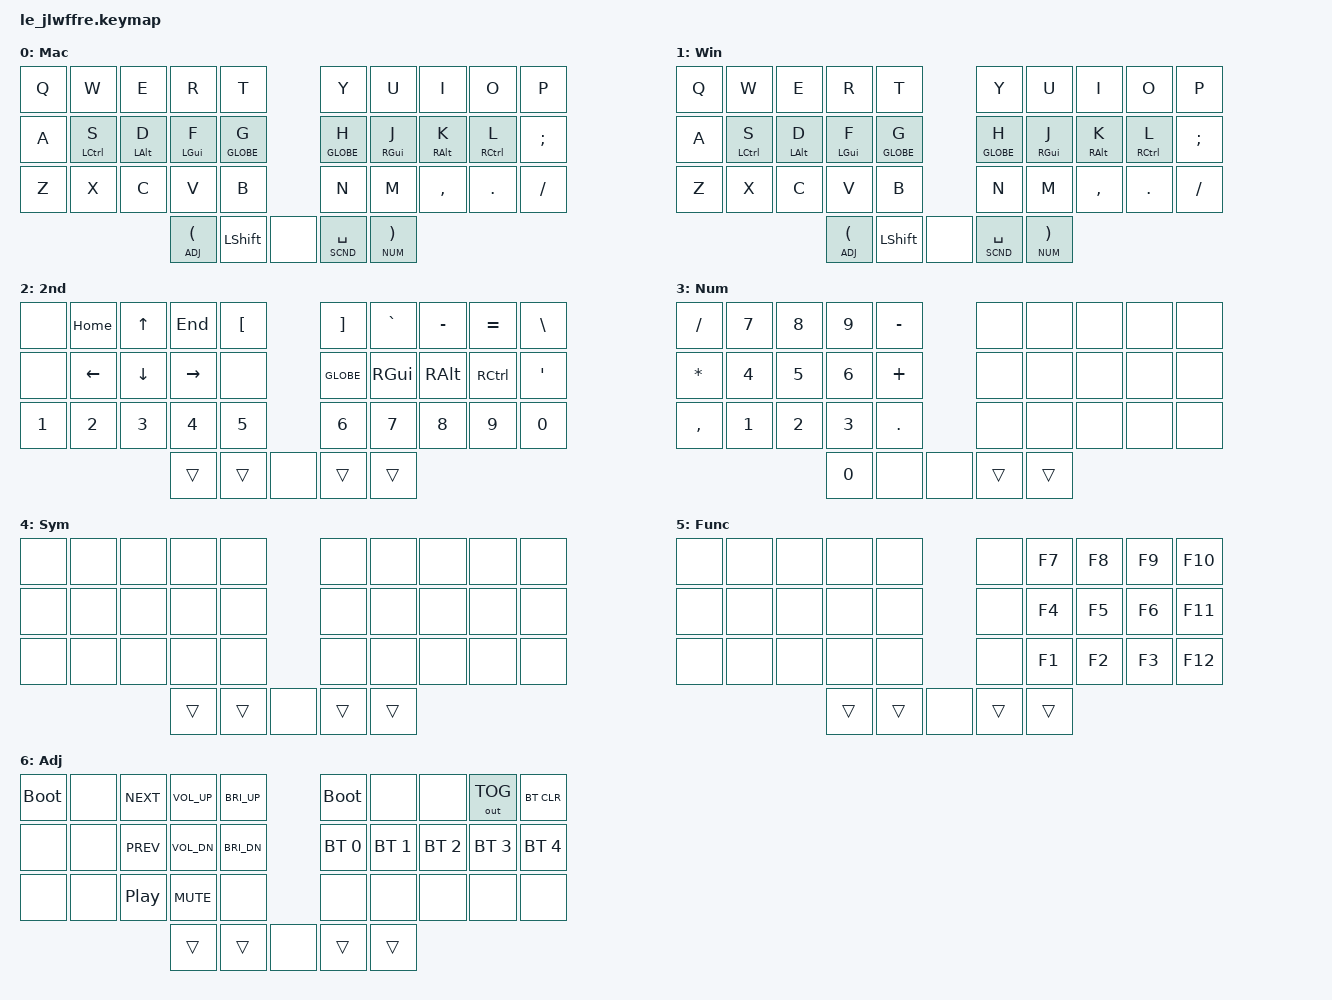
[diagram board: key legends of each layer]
/*
 * Copyright (c) 2021 Pete Johanson
 *
 * SPDX-License-Identifier: MIT
 */

#include <behaviors.dtsi>
#include <dt-bindings/zmk/keys.h>
#include <dt-bindings/zmk/bt.h>
#include <dt-bindings/zmk/outputs.h>

#define MAC  0
#define WIN  1
#define SCND 2
#define NUM  3
#define SYM  4
#define FUN  5
#define ADJ  6

/ {
        behaviors {
                hm: homerow_mods {
                        compatible = "zmk,behavior-hold-tap";
                        label = "HOMEROW_MODS";
                        #binding-cells = <2>;
                        tapping-term-ms = <200>;
                        quick-tap-ms = <200>;
                        require-prior-idle-ms = <150>;
                        flavor = "tap-preferred";
                        bindings = <&kp>, <&kp>;
                };

                bspc_del: backspace_delete {
                        compatible = "zmk,behavior-mod-morph";
                        label = "BACKSPACE_DELETE";
                        #binding-cells = <0>;
                        bindings = <&kp BACKSPACE>, <&kp DELETE>;
                        mods = <(MOD_LSFT|MOD_RSFT)>;
                        keep-mods = <(MOD_RSFT)>;
                };

                td_num_layer: tap_dance_num_layer {
                        compatible = "zmk,behavior-tap-dance";
                        #binding-cells = <0>;
                        tapping-term-ms = <200>;
                        bindings = <&mo NUM>, <&tog NUM>;
                };
        };

        combos {
        compatible = "zmk,combos";

        combo_escape {
            timeout-ms = <50>;
            key-positions = <11 12>;
            bindings = <&kp ESC>;
        };

        combo_tab {
            timeout-ms = <50>;
            key-positions = <12 13>;
            bindings = <&kp TAB>;
        };

        combo_backspace {
            timeout-ms = <50>;
            key-positions = <16 17>;
            bindings = <&bspc_del>;
        };

        combo_enter {
            timeout-ms = <50>;
            key-positions = <17 18>;
            bindings = <&kp ENTER>;
        };

        // Shortcut and Macro combos
        combo_undo_mac{
            timeout-ms = <50>;
            key-positions = <20 21>;
            bindings = <&kp LG(Z)>;
            layers = <MAC>;
        };

        combo_undo_win{
            timeout-ms = <50>;
            key-positions = <20 21>;
            bindings = <&kp LC(Z)>;
            layers = <WIN>;
        };

        combo_cut_mac{
            timeout-ms = <50>;
            key-positions = <21 22>;
            bindings = <&kp LG(X)>;
            layers = <MAC>;
        };

        combo_cut_win{
            timeout-ms = <50>;
            key-positions = <21 22>;
            bindings = <&kp LC(X)>;
            layers = <WIN>;
        };

        combo_copy_mac{
            timeout-ms = <50>;
            key-positions = <22 23>;
            bindings = <&kp LG(C)>;
            layers = <MAC>;
        };

        combo_copy_win{
            timeout-ms = <50>;
            key-positions = <22 23>;
            bindings = <&kp LC(C)>;
            layers = <WIN>;
        };

        combo_paste_mac{
            timeout-ms = <50>;
            key-positions = <23 24>;
            bindings = <&kp LG(V)>;
            layers = <MAC>;
        };

        combo_paste_win{
            timeout-ms = <50>;
            key-positions = <23 24>;
            bindings = <&kp LC(V)>;
            layers = <WIN>;
        };

        combo_delete_word_mac{
            timeout-ms = <50>;
            key-positions = <15 16>;
            bindings = <&kp LA(BACKSPACE)>;
            layers = <MAC>;
        };

        combo_delete_word_win{
            timeout-ms = <50>;
            key-positions = <15 16>;
            bindings = <&kp LC(BACKSPACE)>;
            layers = <WIN>;
        };

        combo_left_desktop_mac {
            timeout-ms = <50>;
            key-positions = <26 27>;
            bindings = <&kp LC(LEFT_ARROW)>;
            layers = <MAC>;
        };

        combo_right_desktop_mac {
            timeout-ms = <50>;
            key-positions = <27 28>;
            bindings = <&kp LC(RIGHT_ARROW)>;
            layers = <MAC>;
        };

        combo_left_desktop_win {
            timeout-ms = <50>;
            key-positions = <26 27>;
            bindings = <&kp LC(LG(LEFT_ARROW))>;
            layers = <WIN>;
        };

        combo_right_desktop_win {
            timeout-ms = <50>;
            key-positions = <27 28>;
            bindings = <&kp LC(LG(RIGHT_ARROW))>;
            layers = <WIN>;
        };

        // Other Combos
        // On zaphod, cradio, and normal le chiffre this should be on keys 30 and 33
        // On le jlwffre this needs to be on 30 and 34 as the center key is in a part of the bottom row
        combo_layout_change {
            timeout-ms = <50>;
            key-positions = <30 34>;
            bindings = <&tog WIN>;
        };
    };

        keymap {
                compatible = "zmk,keymap";

                mac_layer {
                        display-name = "Mac";
                        bindings = <
                                        &kp Q &kp W       &kp E      &kp R      &kp T                   &kp Y       &kp U      &kp I      &kp O       &kp P
                                        &kp A &hm LCTRL S &hm LALT D &hm LGUI F &hm GLOBE G             &hm GLOBE H &hm RGUI J &hm RALT K &hm RCTRL L &kp SEMI
                                        &kp Z &kp X       &kp C      &kp V      &kp B   &kp N           &kp M      &kp COMMA  &kp DOT     &kp FSLH
                                                                       &lt ADJ LPAR &kp LSHFT   &none   &lt SCND SPACE &lt NUM RPAR
                                >;
                };

                win_layer {
                        display-name = "Win";
                        bindings = <
                                        &kp Q &kp W       &kp E      &kp R      &kp T                 &kp Y       &kp U      &kp I      &kp O       &kp P
                                        &kp A &hm LCTRL S &hm LALT D &hm LGUI F &hm GLOBE G           &hm GLOBE H &hm RGUI J &hm RALT K &hm RCTRL L &kp SEMI
                                        &kp Z &kp X       &kp C      &kp V      &kp B                 &kp N       &kp M      &kp COMMA  &kp DOT     &kp FSLH
                                                                     &lt ADJ LPAR &kp LSHFT   &none   &lt SCND SPACE &lt NUM RPAR
                                >;
                };

                secondary_layer {
                        display-name = "2nd";
                        bindings = <
                                &none  &kp HOME &kp UP   &kp END   &kp LBKT           &kp RBKT  &kp GRAVE &kp MINUS &kp EQUAL &kp BSLH
                                &none  &kp LEFT &kp DOWN &kp RIGHT &none              &kp GLOBE &kp RGUI  &kp RALT  &kp RCTRL &kp SQT
                                &kp N1 &kp N2   &kp N3   &kp N4    &kp N5             &kp N6    &kp N7    &kp N8    &kp N9    &kp N0
                                                            &trans &trans     &none   &trans &trans
                        >;
                };

                number_layer {
                        display-name = "Num";
                        bindings = <
                                   &kp FSLH  &kp N7 &kp N8 &kp N9 &kp MINUS           &none &none &none &none &none
                                   &kp ASTRK &kp N4 &kp N5 &kp N6 &kp PLUS            &none &none &none &none &none
                                   &kp COMMA &kp N1 &kp N2 &kp N3 &kp DOT             &none &none &none &none &none
                                                               &kp N0 &none   &none   &trans &trans
                        >;
                };

                symbol_layer {
                        display-name = "Sym";
                        bindings = <
                                &none &none &none &none &none           &none &none &none &none &none
                                &none &none &none &none &none           &none &none &none &none &none
                                &none &none &none &none &none           &none &none &none &none &none
                                                &trans &trans   &none   &trans &trans
                        >;
                };

                function_layer {
                        display-name = "Func";
                        bindings = <
                                &none &none &none &none &none           &none &kp F7 &kp F8 &kp F9 &kp F10
                                &none &none &none &none &none           &none &kp F4 &kp F5 &kp F6 &kp F11
                                &none &none &none &none &none           &none &kp F1 &kp F2 &kp F3 &kp F12
                                                &trans &trans   &none   &trans &trans
                        >;
                };

                adjust_layer {
                        display-name = "Adj";
                        bindings = <
                                &bootloader &none &kp C_NEXT       &kp C_VOL_UP &kp C_BRI_UP           &bootloader  &none        &none        &out OUT_TOG &bt BT_CLR
                                &none       &none &kp C_PREV       &kp C_VOL_DN &kp C_BRI_DN           &bt BT_SEL 0 &bt BT_SEL 1 &bt BT_SEL 2 &bt BT_SEL 3 &bt BT_SEL 4
                                &none       &none &kp C_PLAY_PAUSE &kp C_MUTE   &none                  &none        &none        &none        &none        &none
                                                                               &trans &trans   &none   &trans &trans
                        >;
                };
        };
};
